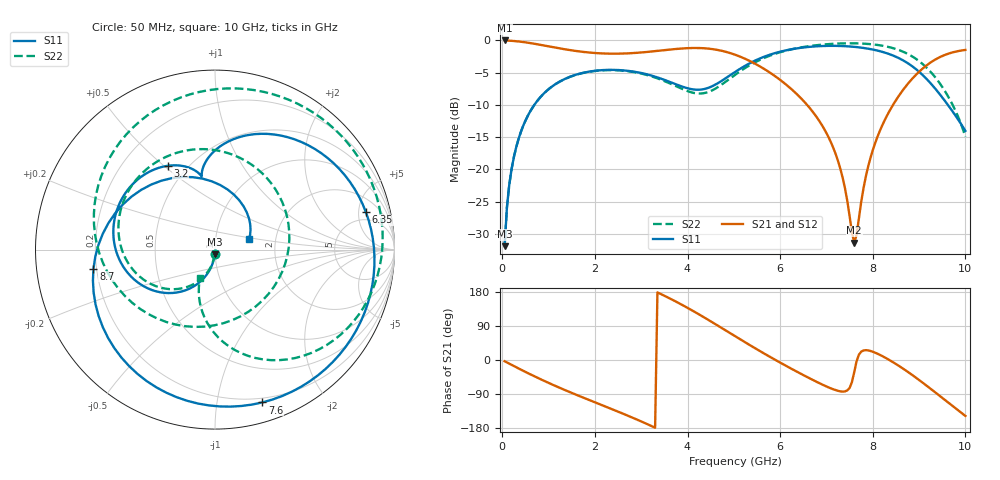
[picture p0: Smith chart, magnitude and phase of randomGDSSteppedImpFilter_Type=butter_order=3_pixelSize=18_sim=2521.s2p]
! freq	dB(S11)	phase(S11)	dB(S12)	phase(S12)
!  dB(S21)	phase(S21)	dB(S22)	phase(S22)
!S-par simulation data
#  GHz  S  DB  R 50
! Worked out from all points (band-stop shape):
!   200 points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, 50 MHz to 10 GHz, reference 50 ohm
!   highest |S21| = -0.01 dB at 50 MHz (marker M1); lowest = -31.4 dB at 7.6 GHz (marker M2)
!   |S21| within 3 dB of the highest: start of sweep to 5.291 GHz; 9.34 GHz to end of sweep
!   lowest |S11| = -31.9 dB at 50 MHz (marker M3), VSWR 1.05, Z = 49.8 - j2.52 ohm
!   |S11| at or under -10 dB: start of sweep to 692.2 MHz; 9.621 GHz to end of sweep
!   |S22| runs from -31.9 to -0.4 dB; largest |S21 - S12| = 0
!   S11 on the Smith chart (normalised r, x): 50 MHz: 1.00, -0.05; 3.2 GHz: 0.39, +0.51; 6.35 GHz: 3.65, +6.08; 7.6 GHz: 0.16, -1.34; 8.7 GHz: 0.19, -0.07; 10 GHz: 1.46, +0.18
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0.05  -31.92 -93.1  -0.01 -3.2  -0.01 -3.2  -31.90 -93.4
0.2  -19.98 -102.4  -0.06 -12.8  -0.06 -12.8  -19.99 -103.8
0.5  -12.44 -120.3  -0.30 -31.4  -0.30 -31.4  -12.45 -123.5
1.05  -7.28 -150.1  -0.99 -63.2  -0.99 -63.2  -7.29 -157.3
1.75  -5.02 176.9  -1.78 -99.4  -1.78 -99.4  -5.04 163.3
2.6  -4.64 141.7  -2.04 -141.3  -2.04 -141.3  -4.69 115.1
3.2  -5.41 119.5  -1.74 -173.1  -1.74 -173.1  -5.53 74.5
3.4  -5.86 113.1  -1.59 175.5  -1.59 175.5  -6.02 58.3
4.15  -7.63 100.4  -1.18 127.3  -1.18 127.3  -8.17 -25.2
4.6  -6.86 98.8  -1.42 94.7  -1.42 94.7  -7.49 -90.7
5.05  -4.79 87.1  -2.28 61.1  -2.28 61.1  -5.22 -147.3
5.65  -2.54 57.0  -4.41 17.4  -4.41 17.4  -2.74 155.2
6.35  -1.24 13.9  -8.26 -30.1  -8.26 -30.1  -1.22 102.6
6.7  -0.96 -9.2  -11.04 -52.3  -11.04 -52.3  -0.82 79.4
7.25  -0.85 -47.1  -18.72 -81.4  -18.72 -81.4  -0.49 45.2
7.6  -1.00 -72.8  -31.39 -31.8  -31.39 -31.8  -0.45 24.2
7.9  -1.28 -96.3  -19.57 25.4  -19.57 25.4  -0.55 6.2
8.35  -2.11 -135.6  -11.09 0.6  -11.09 0.6  -1.03 -21.4
8.7  -3.28 -171.1  -7.25 -26.5  -7.25 -26.5  -1.90 -43.7
9.3  -7.07 114.1  -3.18 -80.8  -3.18 -80.8  -5.30 -82.0
9.65  -10.28 63.7  -2.01 -114.3  -2.01 -114.3  -8.99 -101.4
10  -14.04 17.1  -1.48 -147.6  -1.48 -147.6  -14.95 -117.8
